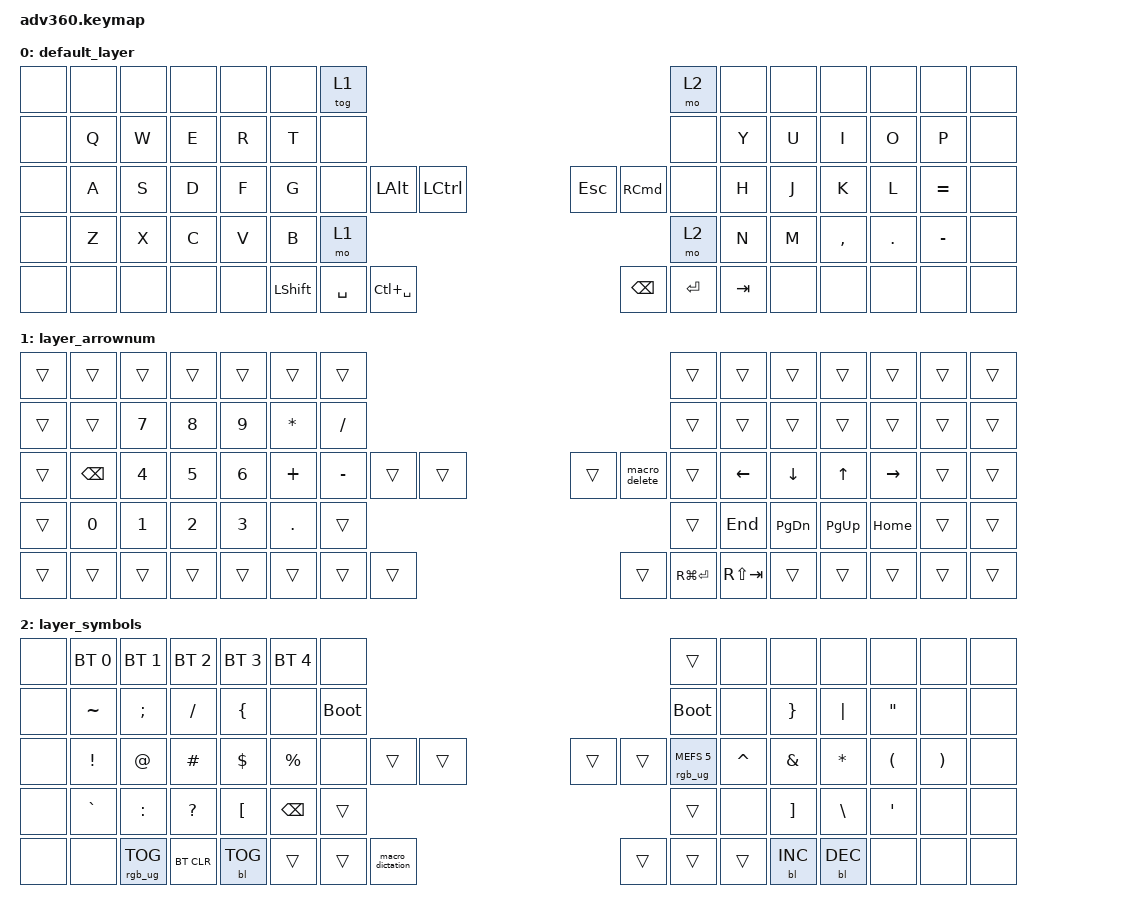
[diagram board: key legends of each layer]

/*
 * Copyright (c) 2020 The ZMK Contributors
 *
 * SPDX-License-Identifier: MIT
 */


/* THIS FILE WAS GENERATED!
 *
 * This file was generated automatically. You may or may not want to
 * edit it directly.
 */

#include <behaviors.dtsi>
#include <dt-bindings/zmk/keys.h>
#include <dt-bindings/zmk/bt.h>
#include <dt-bindings/zmk/rgb.h>
#include <dt-bindings/zmk/backlight.h>

/ {
  behaviors {
    #include "macros.dtsi"
    #include "version.dtsi"

    hm: homerow_mods {
        compatible = "zmk,behavior-hold-tap";
        label = "HOMEROW_MODS";
        #binding-cells = <2>;
        tapping-term-ms = <200>;
        quick_tap_ms = <175>;
        flavor = "tap-preferred";
        bindings = <&kp>, <&kp>;
    };
  };

    keymap {
        compatible = "zmk,keymap";


        default_layer {
            bindings = <
  &none   &none   &none   &none   &none   &none                    &tog 1                                                                                   &mo 2   &none   &none      &none    &none      &none   &none
  &none   &kp Q   &kp W   &kp E   &kp R   &kp T                     &none                                                                                   &none   &kp Y   &kp U      &kp I    &kp O      &kp P   &none
  &none   &kp A   &kp S   &kp D   &kp F   &kp G                     &none  &kp LEFT_ALT      &kp LCTRL                        &kp ESC  &kp RIGHT_COMMAND    &none   &kp H   &kp J      &kp K    &kp L  &kp EQUAL   &none
  &none   &kp Z   &kp X   &kp C   &kp V   &kp B                                                  &mo 1                          &mo 2                               &kp N   &kp M  &kp COMMA  &kp DOT  &kp MINUS   &none
  &none   &none   &none   &none   &none                    &kp LEFT_SHIFT     &kp SPACE  &kp LC(SPACE)                  &kp BACKSPACE          &kp ENTER  &kp TAB           &none      &none    &none      &none   &none
            >;
        };

        layer_arrownum {
            bindings = <
 &trans         &trans        &trans        &trans        &trans        &trans               &trans                                                              &trans          &trans          &trans        &trans           &trans  &trans  &trans
 &trans         &trans  &kp NUMBER_7  &kp NUMBER_8  &kp NUMBER_9  &kp ASTERISK            &kp SLASH                                                              &trans          &trans          &trans        &trans           &trans  &trans  &trans
 &trans  &kp BACKSPACE  &kp NUMBER_4  &kp NUMBER_5  &kp NUMBER_6      &kp PLUS            &kp MINUS  &trans  &trans                  &trans  &macro_delete       &trans  &kp LEFT_ARROW  &kp DOWN_ARROW  &kp UP_ARROW  &kp RIGHT_ARROW  &trans  &trans
 &trans   &kp NUMBER_0  &kp NUMBER_1  &kp NUMBER_2  &kp NUMBER_3       &kp DOT                               &trans                  &trans                                     &kp END   &kp PAGE_DOWN   &kp PAGE_UP         &kp HOME  &trans  &trans
 &trans         &trans        &trans        &trans        &trans                             &trans  &trans  &trans                  &trans  &kp RG(ENTER)  &kp RS(TAB)                          &trans        &trans           &trans  &trans  &trans
            >;
        };

        layer_symbols {
            bindings = <
  &none     &bt BT_SEL 0     &bt BT_SEL 1  &bt BT_SEL 2      &bt BT_SEL 3   &bt BT_SEL 4                  &none                                                                            &trans      &none              &none          &none                 &none                  &none   &none
  &none        &kp TILDE    &kp SEMICOLON     &kp SLASH    &kp LEFT_BRACE          &none            &bootloader                                                                       &bootloader      &none    &kp RIGHT_BRACE       &kp PIPE     &kp DOUBLE_QUOTES                  &none   &none
  &none  &kp EXCLAMATION      &kp AT_SIGN      &kp HASH        &kp DOLLAR    &kp PERCENT                  &none  &trans            &trans                  &trans  &trans  &rgb_ug RGB_MEFS_CMD 5  &kp CARET      &kp AMPERSAND   &kp ASTERISK  &kp LEFT_PARENTHESIS  &kp RIGHT_PARENTHESIS   &none
  &none        &kp GRAVE        &kp COLON  &kp QUESTION  &kp LEFT_BRACKET  &kp BACKSPACE                                           &trans                  &trans                                      &none  &kp RIGHT_BRACKET  &kp BACKSLASH        &kp APOSTROPHE                  &none   &none
  &none            &none  &rgb_ug RGB_TOG    &bt BT_CLR        &bl BL_TOG                                &trans  &trans  &macro_dictation                  &trans  &trans                  &trans                    &bl BL_INC     &bl BL_DEC                 &none                  &none   &none
            >;
        };

    };
};
